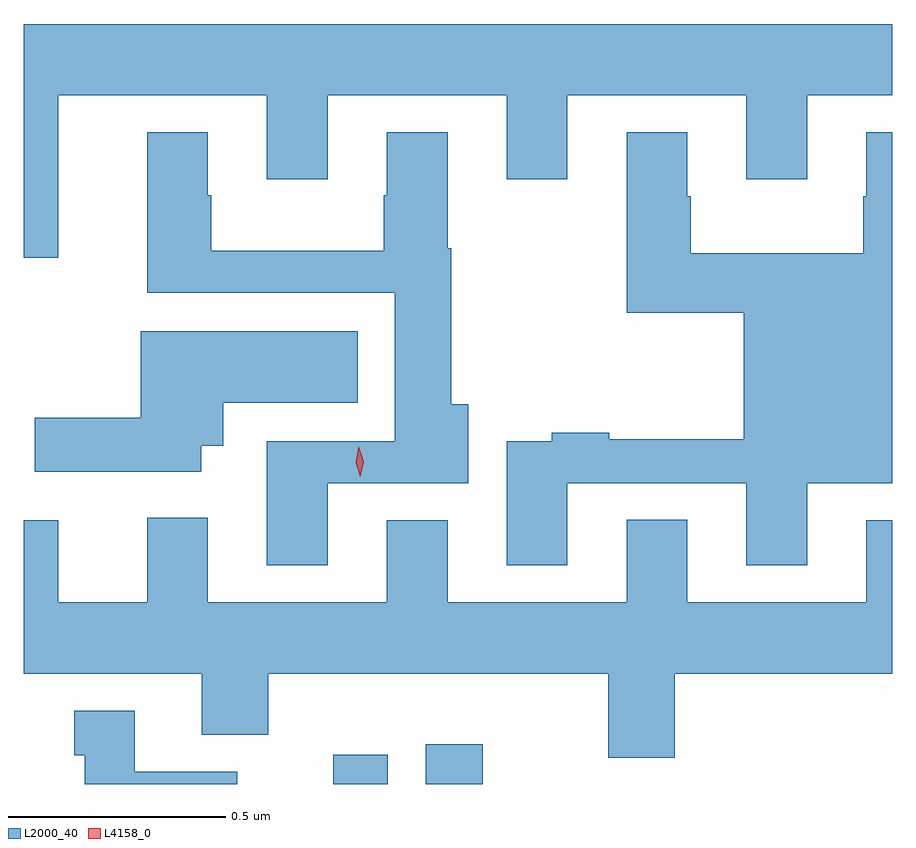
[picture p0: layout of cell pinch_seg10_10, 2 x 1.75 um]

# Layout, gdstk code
import gdstk
lib = gdstk.Library(unit=1e-6, precision=1e-09)
def R(c, l, rs):  # rectangles x0, y0, x1, y1
    for r in rs: c.add(gdstk.rectangle(r[:2], r[2:], *l))
def P(c, l, *ps):  # polygons
    for p in ps: c.add(gdstk.Polygon(p, *l))
L2000_40 = (2000, 40)
L4158_0 = (4158, 0)

pinch_seg10_10 = lib.new_cell('pinch_seg10_10')
R(pinch_seg10_10, L2000_40, [(1064.906,1253.442,1065.031,1253.509), (1065.119,1253.442,1065.25,1253.533)])
P(pinch_seg10_10, L2000_40, [(1064.193,1254.654),(1064.272,1254.654),(1064.272,1255.028),(1064.753,1255.028),(1064.753,1254.834),(1064.893,1254.834),(1064.893,1255.028),(1065.305,1255.028),(1065.305,1254.834),(1065.445,1254.834),(1065.445,1255.028),(1065.857,1255.028),(1065.857,1254.834),(1065.997,1254.834),(1065.997,1255.028),(1066.193,1255.028),(1066.193,1255.192),(1064.193,1255.192)],
  [(1064.893,1254.135),(1065.217,1254.135),(1065.217,1254.316),(1065.177,1254.316),(1065.177,1254.676),(1065.169,1254.676),(1065.169,1254.943),(1065.029,1254.943),(1065.029,1254.798),(1065.022,1254.798),(1065.022,1254.67),(1064.625,1254.67),(1064.625,1254.798),(1064.617,1254.798),(1064.617,1254.943),(1064.477,1254.943),(1064.477,1254.573),(1065.047,1254.573),(1065.047,1254.231),(1064.753,1254.231),(1064.753,1253.946),(1064.893,1253.946)],
  [(1065.445,1254.135),(1065.857,1254.135),(1065.857,1253.946),(1065.997,1253.946),(1065.997,1254.134),(1066.193,1254.134),(1066.193,1254.943),(1066.133,1254.943),(1066.133,1254.795),(1066.126,1254.795),(1066.126,1254.664),(1065.729,1254.664),(1065.729,1254.795),(1065.721,1254.795),(1065.721,1254.943),(1065.581,1254.943),(1065.581,1254.527),(1065.851,1254.527),(1065.851,1254.236),(1065.541,1254.236),(1065.541,1254.251),(1065.409,1254.251),(1065.409,1254.231),(1065.305,1254.231),(1065.305,1253.946),(1065.445,1253.946)],
  [(1064.602,1254.221),(1064.653,1254.221),(1064.653,1254.32),(1064.962,1254.32),(1064.962,1254.484),(1064.462,1254.484),(1064.462,1254.285),(1064.218,1254.285),(1064.218,1254.161),(1064.602,1254.161)],
  [(1065.692,1253.696),(1066.193,1253.696),(1066.193,1254.049),(1066.133,1254.049),(1066.133,1253.86),(1065.721,1253.86),(1065.721,1254.05),(1065.581,1254.05),(1065.581,1253.86),(1065.169,1253.86),(1065.169,1254.049),(1065.029,1254.049),(1065.029,1253.86),(1064.617,1253.86),(1064.617,1254.055),(1064.477,1254.055),(1064.477,1253.86),(1064.272,1253.86),(1064.272,1254.049),(1064.193,1254.049),(1064.193,1253.696),(1064.603,1253.696),(1064.603,1253.555),(1064.756,1253.555),(1064.756,1253.696),(1065.539,1253.696),(1065.539,1253.502),(1065.692,1253.502)],
  [(1064.685,1253.47),(1064.449,1253.47),(1064.449,1253.611),(1064.309,1253.611),(1064.309,1253.508),(1064.333,1253.508),(1064.333,1253.442),(1064.685,1253.442)])
P(pinch_seg10_10, L4158_0, [(1064.968,1254.149),(1064.968,1254.149),(1064.957,1254.183),(1064.965,1254.218),(1064.965,1254.219),(1064.965,1254.218),(1064.976,1254.184),(1064.968,1254.149)])

lib.write_gds('pinch_seg10_10.gds')
